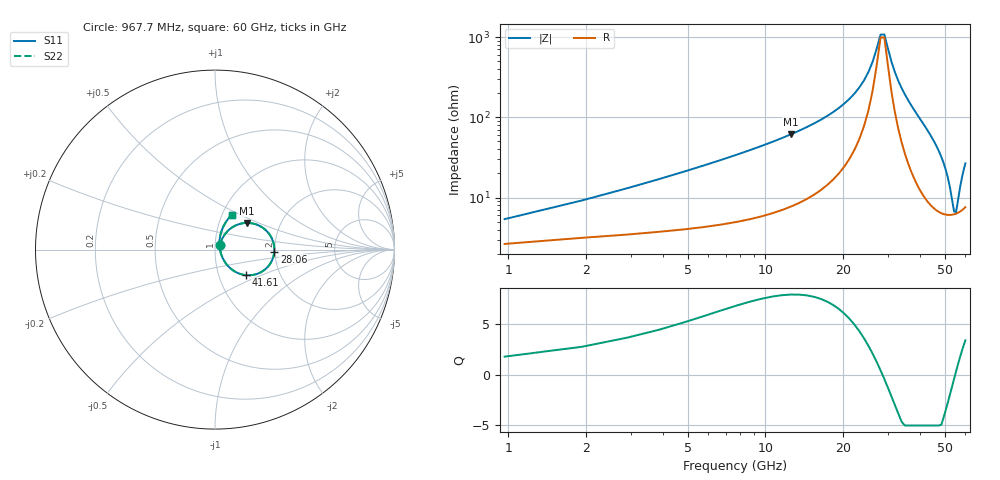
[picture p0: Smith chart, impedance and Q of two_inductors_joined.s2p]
! joined by setupEM from the pieces p1, p2 (ind_F300_pieces): each piece simulated on its own, the ports on the cuts calibrated (port walls) and connected
!port 1: p1 port 1 (layout port 1)
!port 2: p2 port 2 (layout port 4)
! Created with skrf 2.2.0 (http://scikit-rf.org).
# GHz S RI R 50.0
! Port[1] = P1
! Port[2] = P2
!freq ReS11 ImS11 ReS21 ImS21 ReS12 ImS12 ReS22 ImS22
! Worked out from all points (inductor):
!   62 points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, 967.7 MHz to 60 GHz, reference 50 ohm
!   read as 1/Y11, port 2 shorted: L = 671 pH near 2.903 GHz
!   highest Q = 7.88 at 12.58 GHz (marker M1), where L = 771 pH
!   self-resonance near 28.54 GHz
!   S11 on the Smith chart (normalised r, x): 967.7 MHz: 1.05, +0.05; 28.06 GHz: 1.98, -0.06; 41.61 GHz: 1.35, -0.41; 60 GHz: 1.11, +0.45
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0.9677419  0.0259 0.0235  0.9704 -0.0654  0.9704 -0.0654  0.0259 0.0233
1.935484  0.0324 0.0407  0.9581 -0.1205  0.9581 -0.1205  0.0321 0.0407
2.903226  0.0389 0.0577  0.945 -0.1733  0.945 -0.1733  0.0387 0.0578
4.83871  0.0576 0.0887  0.9124 -0.2748  0.9124 -0.2748  0.0577 0.0888
7.741935  0.0967 0.1246  0.8449 -0.4158  0.8449 -0.4158  0.0967 0.1246
11.6129  0.1607 0.1477  0.7244 -0.5764  0.7244 -0.5764  0.1607 0.1477
12.58065  0.1774 0.1488  0.69 -0.6112  0.69 -0.6112  0.1774 0.1488
21.29032  0.3013 0.0878  0.3353 -0.8279  0.3353 -0.8279  0.3013 0.0879
28.06452  0.3302 -0.0126  0.0305 -0.8845  0.0305 -0.8845  0.3302 -0.0125
30.96774  0.3192 -0.0569  -0.1031 -0.8799  -0.1031 -0.8799  0.3192 -0.0568
35.80645  0.2705 -0.117  -0.3258 -0.831  -0.3258 -0.831  0.2706 -0.1169
40.64516  0.1925 -0.1431  -0.5402 -0.7244  -0.5402 -0.7244  0.1926 -0.143
41.6129  0.1749 -0.1427  -0.5807 -0.6954  -0.5807 -0.6954  0.1751 -0.1425
46.45161  0.089 -0.1072  -0.7605 -0.5111  -0.7605 -0.5111  0.0892 -0.1071
48.3871  0.0606 -0.0774  -0.8172 -0.4196  -0.8172 -0.4196  0.0609 -0.0772
50.32258  0.0392 -0.0396  -0.8619 -0.3195  -0.8619 -0.3195  0.0395 -0.0394
51.29032  0.0318 -0.0181  -0.8792 -0.2667  -0.8792 -0.2667  0.0321 -0.018
52.25806  0.0269 0.00466  -0.8928 -0.2126  -0.8928 -0.2126  0.0272 0.00476
55.16129  0.0291 0.0779  -0.9096 -0.0451  -0.9096 -0.0451  0.0295 0.0779
56.12903  0.0359 0.1027  -0.9069 0.0111  -0.9069 0.0111  0.0363 0.1028
58.06452  0.0586 0.1508  -0.8891 0.1216  -0.8891 0.1216  0.059 0.1508
60  0.093 0.194  -0.8555 0.2269  -0.8555 0.2269  0.0934 0.194
